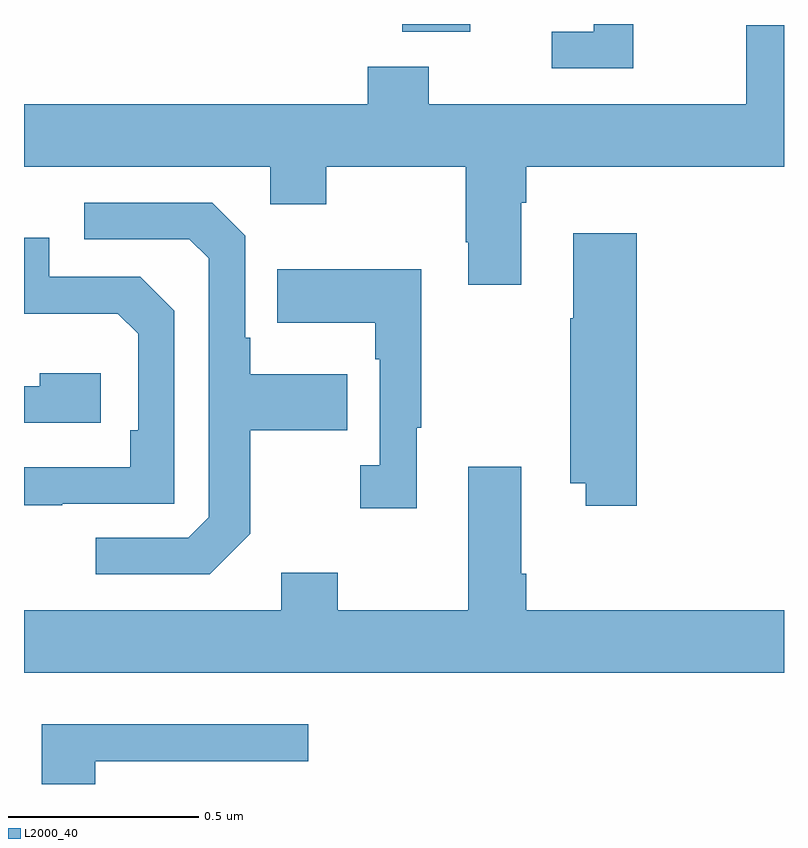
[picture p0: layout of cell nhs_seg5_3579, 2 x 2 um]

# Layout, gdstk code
import gdstk
lib = gdstk.Library(unit=1e-6, precision=1e-09)
def R(c, l, rs):  # rectangles x0, y0, x1, y1
    for r in rs: c.add(gdstk.rectangle(r[:2], r[2:], *l))
def P(c, l, *ps):  # polygons
    for p in ps: c.add(gdstk.Polygon(p, *l))
L2000_40 = (2000, 40)

nhs_seg5_3579 = lib.new_cell('nhs_seg5_3579')
R(nhs_seg5_3579, L2000_40, [(159.995,859.778,160.174,859.799)])
P(nhs_seg5_3579, L2000_40, [(160.603,859.799),(160.499,859.799),(160.499,859.779),(160.389,859.779),(160.389,859.683),(160.603,859.683)],
  [(160.309,859.328),(160.322,859.328),(160.322,859.424),(161,859.424),(161,859.796),(160.901,859.796),(160.901,859.588),(160.065,859.588),(160.065,859.687),(159.905,859.687),(159.905,859.588),(159,859.588),(159,859.424),(159.648,859.424),(159.648,859.325),(159.795,859.325),(159.795,859.424),(160.162,859.424),(160.162,859.225),(160.169,859.225),(160.169,859.113),(160.309,859.113)],
  [(159.595,858.457),(159.595,858.73),(159.851,858.73),(159.851,858.877),(159.595,858.877),(159.595,858.973),(159.582,858.973),(159.582,859.242),(159.495,859.329),(159.159,859.329),(159.159,859.233),(159.435,859.233),(159.486,859.182),(159.486,858.501),(159.432,858.447),(159.189,858.447),(159.189,858.351),(159.489,858.351)],
  [(160.613,859.249),(160.445,859.249),(160.445,859.025),(160.438,859.025),(160.438,858.59),(160.478,858.59),(160.478,858.531),(160.613,858.531)],
  [(159.101,858.537),(159.396,858.537),(159.396,859.044),(159.306,859.134),(159.066,859.134),(159.066,859.236),(159,859.236),(159,859.037),(159.247,859.037),(159.3,858.984),(159.3,858.73),(159.28,858.73),(159.28,858.633),(159,858.633),(159,858.532),(159.101,858.532)],
  [(160.033,858.737),(160.045,858.737),(160.045,859.153),(159.667,859.153),(159.667,859.013),(159.924,859.013),(159.924,858.917),(159.936,858.917),(159.936,858.638),(159.885,858.638),(159.885,858.525),(160.033,858.525)],
  [(159.202,858.88),(159.041,858.88),(159.041,858.846),(159,858.846),(159,858.75),(159.202,858.75)],
  [(161,858.256),(160.322,858.256),(160.322,858.352),(160.309,858.352),(160.309,858.634),(160.169,858.634),(160.169,858.256),(159.825,858.256),(159.825,858.355),(159.677,858.355),(159.677,858.256),(159,858.256),(159,858.092),(161,858.092)],
  [(159.187,857.859),(159.748,857.859),(159.748,857.956),(159.047,857.956),(159.047,857.799),(159.187,857.799)])

lib.write_gds('nhs_seg5_3579.gds')
